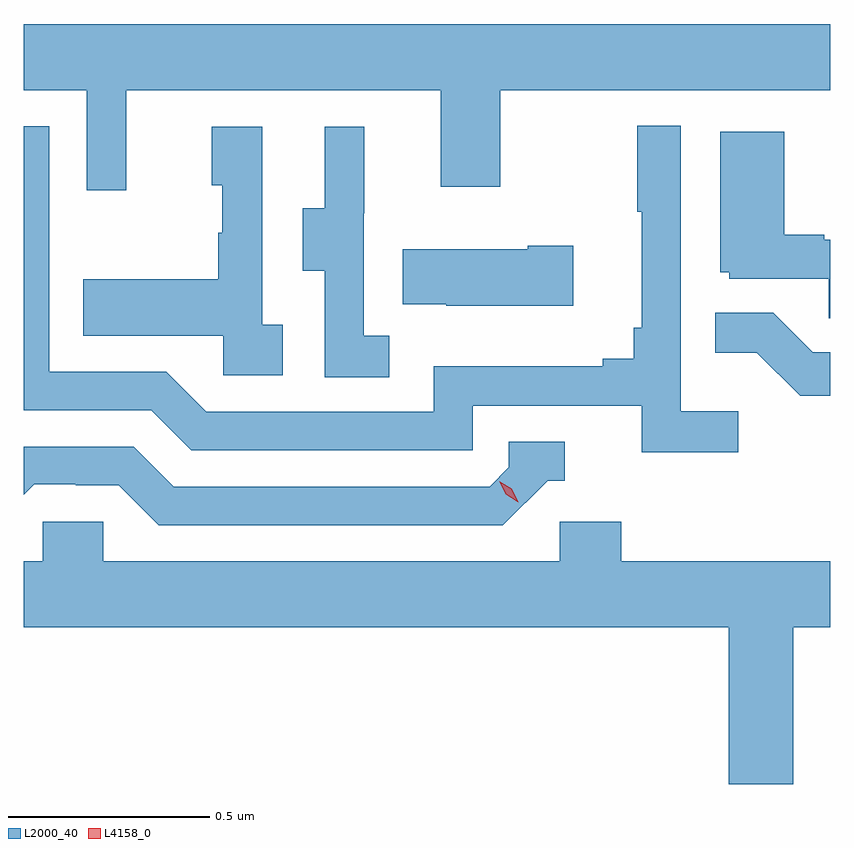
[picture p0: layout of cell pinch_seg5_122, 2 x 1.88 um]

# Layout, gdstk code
import gdstk
lib = gdstk.Library(unit=1e-6, precision=1e-09)
def P(c, l, *ps):  # polygons
    for p in ps: c.add(gdstk.Polygon(p, *l))
L2000_40 = (2000, 40)
L4158_0 = (4158, 0)

pinch_seg5_122 = lib.new_cell('pinch_seg5_122')
P(pinch_seg5_122, L2000_40, [(1037.663,883.4),(1038.443,883.4),(1038.443,883.161),(1038.591,883.161),(1038.591,883.4),(1039.409,883.4),(1039.409,883.564),(1037.409,883.564),(1037.409,883.4),(1037.565,883.4),(1037.565,883.152),(1037.663,883.152)],
  [(1039.18,882.604),(1039.038,882.604),(1039.038,883.312),(1038.93,883.312),(1038.93,883.099),(1038.941,883.099),(1038.941,882.811),(1038.922,882.811),(1038.922,882.734),(1038.845,882.734),(1038.845,882.715),(1038.426,882.715),(1038.426,882.603),(1037.862,882.603),(1037.763,882.702),(1037.472,882.702),(1037.472,883.311),(1037.409,883.311),(1037.409,882.606),(1037.726,882.606),(1037.825,882.507),(1038.522,882.507),(1038.522,882.618),(1038.941,882.618),(1038.941,882.502),(1039.18,882.502)],
  [(1038.052,882.818),(1038,882.818),(1038,883.309),(1037.876,883.309),(1037.876,883.164),(1037.902,883.164),(1037.902,883.046),(1037.892,883.046),(1037.892,882.931),(1037.557,882.931),(1037.557,882.791),(1037.904,882.791),(1037.904,882.693),(1038.052,882.693)],
  [(1038.316,882.791),(1038.252,882.791),(1038.252,883.095),(1038.254,883.095),(1038.254,883.309),(1038.155,883.309),(1038.155,883.107),(1038.101,883.107),(1038.101,882.952),(1038.156,882.952),(1038.156,882.688),(1038.316,882.688)],
  [(1039.409,883.029),(1039.394,883.029),(1039.394,883.042),(1039.294,883.042),(1039.294,883.297),(1039.136,883.297),(1039.136,882.948),(1039.158,882.948),(1039.158,882.933),(1039.405,882.933),(1039.405,882.835),(1039.409,882.835)],
  [(1038.772,883.014),(1038.659,883.014),(1038.659,883.006),(1038.349,883.006),(1038.349,882.869),(1038.457,882.869),(1038.457,882.866),(1038.772,882.866)],
  [(1039.409,882.75),(1039.365,882.75),(1039.267,882.848),(1039.123,882.848),(1039.123,882.749),(1039.227,882.749),(1039.334,882.642),(1039.409,882.642)],
  [(1038.708,882.432),(1038.751,882.432),(1038.751,882.528),(1038.612,882.528),(1038.612,882.465),(1038.564,882.417),(1037.781,882.417),(1037.682,882.516),(1037.409,882.516),(1037.409,882.397),(1037.435,882.423),(1037.538,882.423),(1037.538,882.42),(1037.645,882.42),(1037.744,882.321),(1038.597,882.321)],
  [(1039.317,882.068),(1039.409,882.068),(1039.409,882.232),(1038.89,882.232),(1038.89,882.33),(1038.738,882.33),(1038.738,882.232),(1037.607,882.232),(1037.607,882.33),(1037.457,882.33),(1037.457,882.232),(1037.409,882.232),(1037.409,882.068),(1039.157,882.068),(1039.157,881.68),(1039.317,881.68)])
P(pinch_seg5_122, L4158_0, [(1038.635,882.379),(1038.604,882.398),(1038.588,882.431),(1038.588,882.431),(1038.588,882.431),(1038.619,882.412),(1038.635,882.379),(1038.635,882.379)])

lib.write_gds('pinch_seg5_122.gds')
